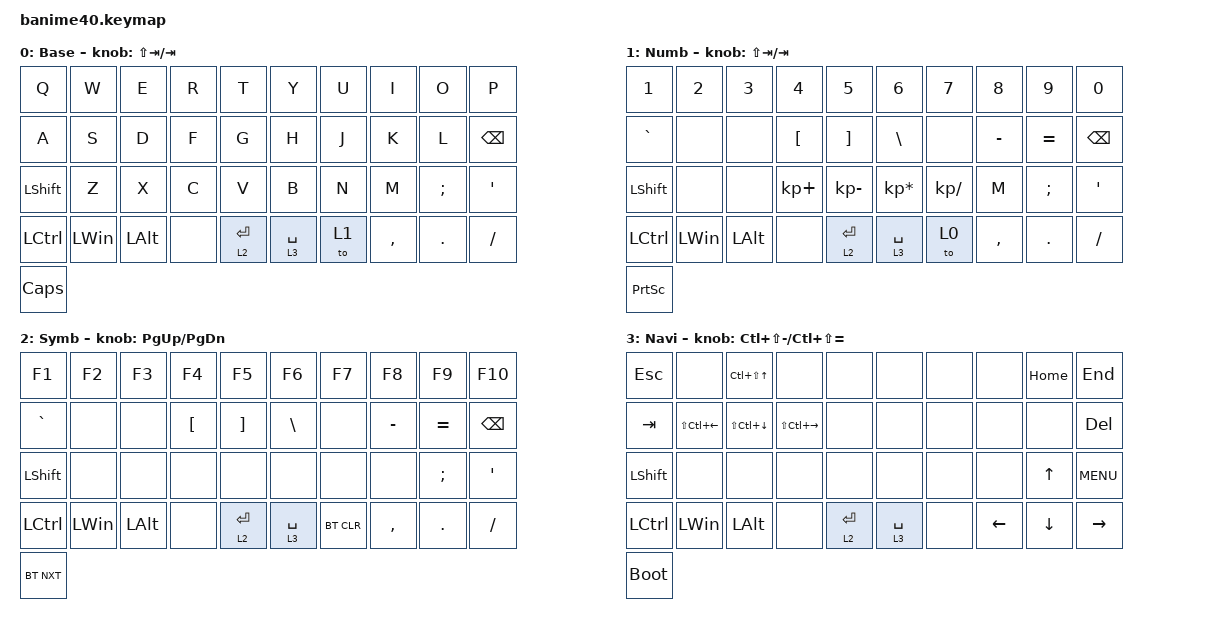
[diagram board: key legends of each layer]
/*
 * Copyright (c) 2024 The ZMK Contributors
 *
 * SPDX-License-Identifier: MIT
 */

#include <dt-bindings/zmk/mouse.h>
#include <dt-bindings/zmk/behaviors.h>
#include <behaviors.dtsi>
#include <dt-bindings/zmk/bt.h>
#include <dt-bindings/zmk/keys.h>
#include <dt-bindings/zmk/pointing.h>

/ {
    behaviors {
        Sensor_scroll: Sensor_scroll {
            compatible = "zmk,behavior-sensor-rotate";
            label = "SENSOR_SCROLL";
            #sensor-binding-cells = <0>;
            bindings = <&msc SCRL_DOWN>, <&msc SCRL_UP>;
        };

        encoder_scroll: encoder_scroll {
            compatible = "zmk,behavior-sensor-rotate-var";
            label = "ENCODER_SCROLL";
            #sensor-binding-cells = <2>;
            bindings = <&msc>, <&msc>;
        };

        /*bt_set: bt_set {
            compatible = "zmk,behavior-hold-tap";
            label = "BT_SET";
            bindings = <&bt BT_CLR>, <&bt BT_NXT>;

            #binding-cells = <2>;
            tapping-term-ms = <200>;
            hold-trigger-key-positions = <40>;
            flavor = "tap-preferred";
        };*/
    };

    macros {
        bt_nextdevice: bt_nextdevice {
            compatible = "zmk,behavior-macro";
            #binding-cells = <0>;
            bindings = <&bt BT_DISC 0 &bt BT_NXT>;
            label = "BT_NEXTDEVICE";
        };
    };

    keymap {
        compatible = "zmk,keymap";

        default_layer {
            label = "Base";
            bindings = <
&kp Q      &kp W         &kp E     &kp R  &kp T      &kp Y        &kp U  &kp I      &kp O       &kp P
&kp A      &kp S         &kp D     &kp F  &kp G      &kp H        &kp J  &kp K      &kp L       &kp BSPC
&kp LSHFT  &kp Z         &kp X     &kp C  &kp V      &kp B        &kp N  &kp M      &kp SEMI    &kp SQT
&kp LCTRL  &kp LEFT_WIN  &kp LALT  &none  &lt 2 RET  &lt 3 SPACE  &to 1  &kp COMMA  &kp PERIOD  &kp SLASH
&kp CAPS
            >;

            sensor-bindings = <&inc_dec_kp LS(TAB) TAB>;
        };

        num_layer {
            label = "Numb";
            bindings = <
&kp N1           &kp N2        &kp N3    &kp N4       &kp N5        &kp N6           &kp N7        &kp N8     &kp N9      &kp N0
&kp GRAVE        &none         &none     &kp LBKT     &kp RBKT      &kp BSLH         &none         &kp MINUS  &kp EQUAL   &kp BSPC
&kp LSHFT        &none         &none     &kp KP_PLUS  &kp KP_MINUS  &kp KP_MULTIPLY  &kp KP_SLASH  &kp M      &kp SEMI    &kp SQT
&kp LCTRL        &kp LEFT_WIN  &kp LALT  &none        &lt 2 RET     &lt 3 SPACE      &to 0         &kp COMMA  &kp PERIOD  &kp SLASH
&kp PRINTSCREEN
            >;

            sensor-bindings = <&inc_dec_kp LS(TAB) TAB>;
        };

        base_repeat_layer {
            label = "Symb";
            bindings = <
&kp F1      &kp F2        &kp F3    &kp F4    &kp F5     &kp F6       &kp F7      &kp F8     &kp F9      &kp F10
&kp GRAVE   &none         &none     &kp LBKT  &kp RBKT   &kp BSLH     &none       &kp MINUS  &kp EQUAL   &kp BSPC
&kp LSHFT   &none         &none     &none     &none      &none        &none       &none      &kp SEMI    &kp SQT
&kp LCTRL   &kp LEFT_WIN  &kp LALT  &none     &lt 2 RET  &lt 3 SPACE  &bt BT_CLR  &kp COMMA  &kp PERIOD  &kp SLASH
&bt BT_NXT
            >;

            sensor-bindings = <&inc_dec_kp PAGE_UP PAGE_DOWN>;
        };

        func_layer {
            label = "Navi";
            bindings = <
&kp ESCAPE   &none             &kp LC(LS(UP))    &none              &none      &none        &none  &none     &kp HOME  &kp END
&kp TAB      &kp LS(LC(LEFT))  &kp LS(LC(DOWN))  &kp LS(LC(RIGHT))  &none      &none        &none  &none     &none     &kp DEL
&kp LSHFT    &none             &none             &none              &none      &none        &none  &none     &kp UP    &kp K_MENU
&kp LCTRL    &kp LWIN          &kp LALT          &none              &lt 2 RET  &lt 3 SPACE  &none  &kp LEFT  &kp DOWN  &kp RIGHT
&bootloader
            >;

            sensor-bindings = <&inc_dec_kp LC(LS(MINUS)) LC(LS(EQUAL))>;
        };
    };
};
